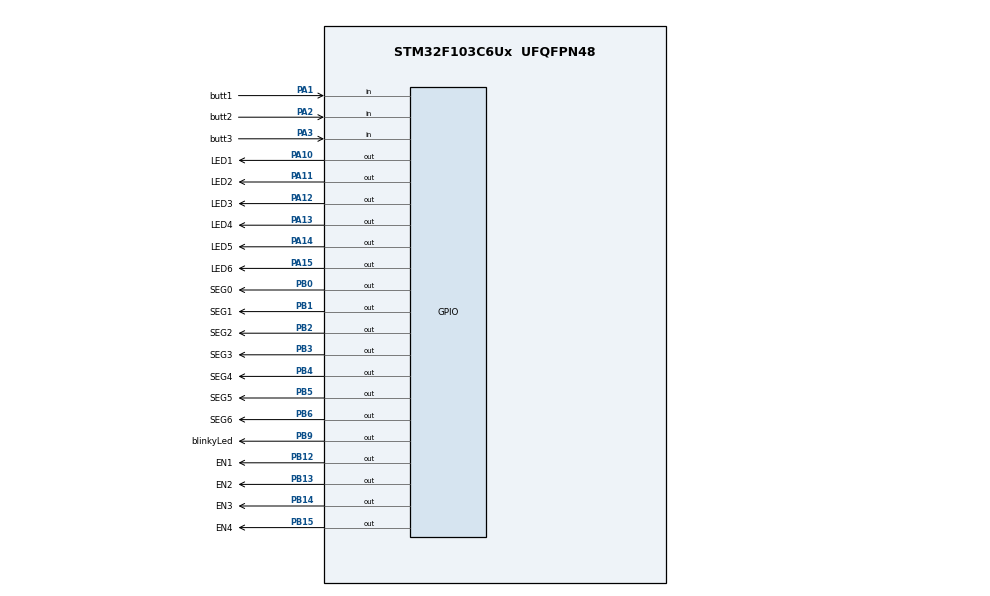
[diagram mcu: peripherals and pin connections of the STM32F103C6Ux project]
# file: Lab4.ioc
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Mcu.Family=STM32F1
Mcu.Name=STM32F103C6Ux
Mcu.Package=UFQFPN48
NVIC.PriorityGroup=NVIC_PRIORITYGROUP_4
NVIC.TIM2_IRQn=true\:0\:0\:false\:false\:true\:true\:true
PA1.GPIO_Label=butt1
PA1.GPIO_PuPd=GPIO_PULLUP
PA1.Signal=GPIO_Input
PA10.GPIO_Label=LED1
PA10.Signal=GPIO_Output
PA11.GPIO_Label=LED2
PA11.Signal=GPIO_Output
PA12.GPIO_Label=LED3
PA12.Signal=GPIO_Output
PA13.GPIO_Label=LED4
PA13.Signal=GPIO_Output
PA14.GPIO_Label=LED5
PA14.Signal=GPIO_Output
PA15.GPIO_Label=LED6
PA15.Signal=GPIO_Output
PA2.GPIO_Label=butt2
PA2.GPIO_PuPd=GPIO_PULLUP
PA2.Signal=GPIO_Input
PA3.GPIO_Label=butt3
PA3.GPIO_PuPd=GPIO_PULLUP
PA3.Signal=GPIO_Input
PB0.GPIO_Label=SEG0
PB0.Signal=GPIO_Output
PB1.GPIO_Label=SEG1
PB1.Signal=GPIO_Output
PB12.GPIO_Label=EN1
PB12.Signal=GPIO_Output
PB13.GPIO_Label=EN2
PB13.Signal=GPIO_Output
PB14.GPIO_Label=EN3
PB14.Signal=GPIO_Output
PB15.GPIO_Label=EN4
PB15.Signal=GPIO_Output
PB2.GPIO_Label=SEG2
PB2.Signal=GPIO_Output
PB3.GPIO_Label=SEG3
PB3.Signal=GPIO_Output
PB4.GPIO_Label=SEG4
PB4.Signal=GPIO_Output
PB5.GPIO_Label=SEG5
PB5.Signal=GPIO_Output
PB6.GPIO_Label=SEG6
PB6.Signal=GPIO_Output
PB9.GPIO_Label=blinkyLed
PB9.Signal=GPIO_Output
ProjectManager.HeapSize=0x200
ProjectManager.StackSize=0x400
ProjectManager.TargetToolchain=STM32CubeIDE
RCC.APB1Freq_Value=8000000
RCC.APB2Freq_Value=8000000
TIM2.Period=9
TIM2.Prescaler=7999
VP_SYS_VS_ND.Mode=No_Debug
VP_TIM2_VS_ClockSourceINT.Mode=Internal
board=custom

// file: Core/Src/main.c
/* USER CODE BEGIN Header */
/**
  ******************************************************************************
  * @file           : main.c
  * @brief          : Main program body
  ******************************************************************************
  * @attention
  *
  * <h2><center>&copy; Copyright (c) 2024 STMicroelectronics.
  * All rights reserved.</center></h2>
  *
  * This software component is licensed by ST under BSD 3-Clause license,
  * the "License"; You may not use this file except in compliance with the
  * License. You may obtain a copy of the License at:
  *                        opensource.org/licenses/BSD-3-Clause
  *
  ******************************************************************************
  */
/* USER CODE END Header */
#include "main.h"

/* USER CODE BEGIN Includes */
#include "blinkyLed.h"
#include "ledTraffic.h"
#include "button.h"
#include "fsmAutomatic.h"
#include "fsmModify.h"
#include "scheduler.h"
/* USER CODE END Includes */

TIM_HandleTypeDef htim2;

void SystemClock_Config(void);
static void MX_TIM2_Init(void);
static void MX_GPIO_Init(void);

int main(void)
{

  /* MCU Configuration--------------------------------------------------------*/

  /* Reset of all peripherals, Initializes the Flash interface and the Systick. */
  HAL_Init();

  /* Configure the system clock */
  SystemClock_Config();

  /* Initialize all configured peripherals */
  MX_TIM2_Init();
  MX_GPIO_Init();
  /* USER CODE BEGIN 2 */
  int mode = 0;
//  setTimer(2, 250);

  HAL_TIM_Base_Start_IT(&htim2);
  SCH_Init();
  void* blink = testLed;
  initAutomatic();

  SCH_Add_Task(t0, 100, 100);
  SCH_Add_Task(t1, 100, 100);
  SCH_Add_Task(t2, 25, 25);
  SCH_Add_Task(t3, 50, 50);
  SCH_Add_Task(t4, 50, 50);
  SCH_Add_Task(blink, 500, 0);

  /* USER CODE END 2 */

  /* Infinite loop */
  /* USER CODE BEGIN WHILE */
  while (1)
  {
	  SCH_Dispatch_Tasks();
	  switch(mode){
		  case 0:
			  automaticRun();
			  if(isButtonPressed(0)){
				  timeTemp = timeRed;
				  mode = 1;
//				  setTimer(0, 500);
//				  SCH_Add_Task(t4, 50, 0);
//				  testLed();
			  }
			  break;
		  case 1:
			  modifyRed();
			  if(isButtonPressed(0)){
				  timeTemp = timeAmber;
				  mode = 2;
//				  setTimer(0, 500);
//				  SCH_Add_Task(t4, 50, 0);
//				  testLed();
			  }
			  break;
		  case 2:
			  modifyAmber();
			  if(isButtonPressed(0)){
				  timeTemp = timeGreen;
				  mode = 3;
//				  setTimer(0, 500);
//				  SCH_Add_Task(t4, 50, 0);
//				  testLed();
			  }
			  break;
		  case 3:
			  modifyGreen();
			  if(isButtonPressed(0)){
				  mode = 0;
				  afterModify();
//				  testLed();
			  }
			  break;
		  default:
			  mode = 0;
			  afterModify();
			  break;
	  }
    /* USER CODE END WHILE */

  }
}

void SystemClock_Config(void)
{
  RCC_OscInitTypeDef RCC_OscInitStruct = {0};
  RCC_ClkInitTypeDef RCC_ClkInitStruct = {0};

  /** Initializes the RCC Oscillators according to the specified parameters
  * in the RCC_OscInitTypeDef structure.
  */
  RCC_OscInitStruct.OscillatorType = RCC_OSCILLATORTYPE_HSI;
  RCC_OscInitStruct.HSIState = RCC_HSI_ON;
  RCC_OscInitStruct.HSICalibrationValue = RCC_HSICALIBRATION_DEFAULT;
  RCC_OscInitStruct.PLL.PLLState = RCC_PLL_NONE;
  if (HAL_RCC_OscConfig(&RCC_OscInitStruct) != HAL_OK)
  {
    Error_Handler();
  }
  /** Initializes the CPU, AHB and APB buses clocks
  */
  RCC_ClkInitStruct.ClockType = RCC_CLOCKTYPE_HCLK|RCC_CLOCKTYPE_SYSCLK
                              |RCC_CLOCKTYPE_PCLK1|RCC_CLOCKTYPE_PCLK2;
  RCC_ClkInitStruct.SYSCLKSource = RCC_SYSCLKSOURCE_HSI;
  RCC_ClkInitStruct.AHBCLKDivider = RCC_SYSCLK_DIV1;
  RCC_ClkInitStruct.APB1CLKDivider = RCC_HCLK_DIV1;
  RCC_ClkInitStruct.APB2CLKDivider = RCC_HCLK_DIV1;

  if (HAL_RCC_ClockConfig(&RCC_ClkInitStruct, FLASH_LATENCY_0) != HAL_OK)
  {
    Error_Handler();
  }
}

static void MX_TIM2_Init(void)
{

  TIM_ClockConfigTypeDef sClockSourceConfig = {0};
  TIM_MasterConfigTypeDef sMasterConfig = {0};

  htim2.Instance = TIM2;
  htim2.Init.Prescaler = 7999;
  htim2.Init.CounterMode = TIM_COUNTERMODE_UP;
  htim2.Init.Period = 9;
  htim2.Init.ClockDivision = TIM_CLOCKDIVISION_DIV1;
  htim2.Init.AutoReloadPreload = TIM_AUTORELOAD_PRELOAD_DISABLE;
  if (HAL_TIM_Base_Init(&htim2) != HAL_OK)
  {
    Error_Handler();
  }
  sClockSourceConfig.ClockSource = TIM_CLOCKSOURCE_INTERNAL;
  if (HAL_TIM_ConfigClockSource(&htim2, &sClockSourceConfig) != HAL_OK)
  {
    Error_Handler();
  }
  sMasterConfig.MasterOutputTrigger = TIM_TRGO_RESET;
  sMasterConfig.MasterSlaveMode = TIM_MASTERSLAVEMODE_DISABLE;
  if (HAL_TIMEx_MasterConfigSynchronization(&htim2, &sMasterConfig) != HAL_OK)
  {
    Error_Handler();
  }

}

static void MX_GPIO_Init(void)
{
  GPIO_InitTypeDef GPIO_InitStruct = {0};

  /* GPIO Ports Clock Enable */
  __HAL_RCC_GPIOA_CLK_ENABLE();
  __HAL_RCC_GPIOB_CLK_ENABLE();

  /*Configure GPIO pin Output Level */
  HAL_GPIO_WritePin(GPIOB, SEG0_Pin|SEG1_Pin|SEG2_Pin|EN1_Pin
                          |EN2_Pin|EN3_Pin|EN4_Pin|SEG3_Pin
                          |SEG4_Pin|SEG5_Pin|SEG6_Pin|blinkyLed_Pin, GPIO_PIN_RESET);

  /*Configure GPIO pin Output Level */
  HAL_GPIO_WritePin(GPIOA, LED1_Pin|LED2_Pin|LED3_Pin|LED4_Pin
                          |LED5_Pin|LED6_Pin, GPIO_PIN_RESET);

  /*Configure GPIO pins : butt1_Pin butt2_Pin butt3_Pin */
  GPIO_InitStruct.Pin = butt1_Pin|butt2_Pin|butt3_Pin;
  GPIO_InitStruct.Mode = GPIO_MODE_INPUT;
  GPIO_InitStruct.Pull = GPIO_PULLUP;
  HAL_GPIO_Init(GPIOA, &GPIO_InitStruct);

  /*Configure GPIO pins : SEG0_Pin SEG1_Pin SEG2_Pin EN1_Pin
                           EN2_Pin EN3_Pin EN4_Pin SEG3_Pin
                           SEG4_Pin SEG5_Pin SEG6_Pin blinkyLed_Pin */
  GPIO_InitStruct.Pin = SEG0_Pin|SEG1_Pin|SEG2_Pin|EN1_Pin
                          |EN2_Pin|EN3_Pin|EN4_Pin|SEG3_Pin
                          |SEG4_Pin|SEG5_Pin|SEG6_Pin|blinkyLed_Pin;
  GPIO_InitStruct.Mode = GPIO_MODE_OUTPUT_PP;
  GPIO_InitStruct.Pull = GPIO_NOPULL;
  GPIO_InitStruct.Speed = GPIO_SPEED_FREQ_LOW;
  HAL_GPIO_Init(GPIOB, &GPIO_InitStruct);

  /*Configure GPIO pins : LED1_Pin LED2_Pin LED3_Pin LED4_Pin
                           LED5_Pin LED6_Pin */
  GPIO_InitStruct.Pin = LED1_Pin|LED2_Pin|LED3_Pin|LED4_Pin
                          |LED5_Pin|LED6_Pin;
  GPIO_InitStruct.Mode = GPIO_MODE_OUTPUT_PP;
  GPIO_InitStruct.Pull = GPIO_NOPULL;
  GPIO_InitStruct.Speed = GPIO_SPEED_FREQ_LOW;
  HAL_GPIO_Init(GPIOA, &GPIO_InitStruct);

}

/* USER CODE BEGIN 4 */
void HAL_TIM_PeriodElapsedCallback(TIM_HandleTypeDef *htim){
	if(htim->Instance == TIM2){
		buttonReading();
	}
	SCH_Update();
}
/* USER CODE END 4 */

void Error_Handler(void)
{
  __disable_irq();
  while (1)
  {
  }
}

/************************ (C) COPYRIGHT STMicroelectronics *****END OF FILE****/
